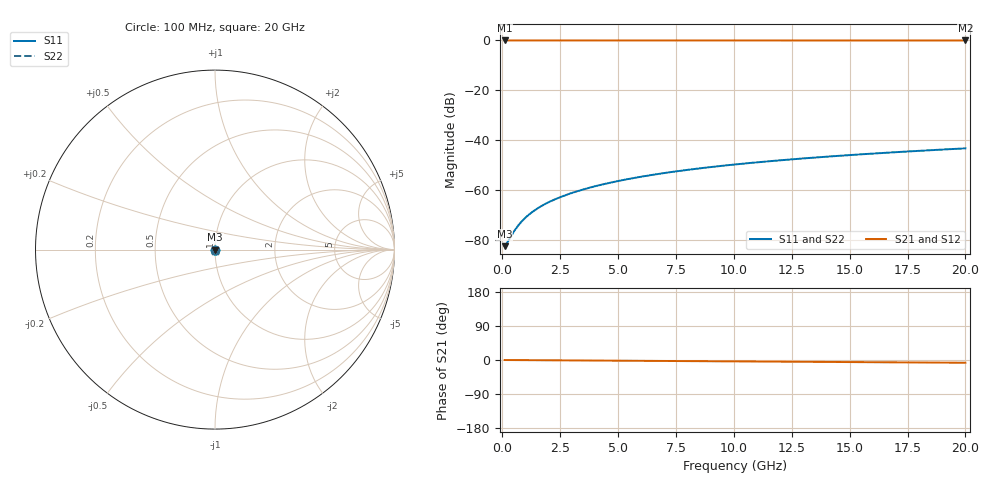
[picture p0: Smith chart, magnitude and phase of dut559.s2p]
! Touchstone file exported from HFSS 2026.1.0
!  File:  C:/ffzhzh/LocalFiles/Ansys_Project_Files/temp_train_TSV_559_1783024464_51716.aedt
!  Generated:  04:35:48 AM Jul  3, 2026
!  Design:  TSV
!  Project:  temp_train_TSV_559_1783024464_51716
! Variables:
!  h_bsmrdl = 2um
!  h_ox = 20um
!  h_rdl = 5um
!  h_sub = 70.64um
!  h_tmrdl = 5um
!  h_tsv = 70.64um
!  h_via = 3um
!  l_bsmrdl = 300um
!  l_sub = 426.92um
!  l_tmrdl = 200um
!  m_sub = 200um
!  pitch = 50.73um
!  r_tsv = 13.46um
!  s_tmrdl = 10um
!  w_bsmrdl = 18um
!  w_sub = 500um
!  w_tmrdl = 12um
!  x_tsv_center1 = 206um
!  x_tsv_center2 = 524um
!  x_tsv_center3 = 736um
!  x_tsv_center4 = 1054um
!  x_tsv_center5 = 1266um
!  x_tsv_center6 = 1584um
# GHz S MA R 50.000000
! Terminal data exported
! Port[1] = TSV1_1_T1
! Port[2] = TSV1_1_T2
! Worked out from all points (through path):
!   200 points, 100 MHz to 20 GHz, reference 50 ohm
!   highest |S21| = 0.00 dB at 100 MHz (marker M1); lowest = 0.0 dB at 20 GHz (marker M2)
!   group delay of S21, straight-line fit = 1.01 ps
!   lowest |S11| = -82.4 dB at 100 MHz (marker M3), VSWR 1.00, Z = 50 + j0.000283 ohm
!   |S11| at or under -10 dB: start of sweep to end of sweep
!   |S22| runs from -82.4 to -43.2 dB; largest |S21 - S12| = 2.1e-15
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0.1  7.591e-05 2.1  0.9999 -0.0  0.9999 -0.0  7.591e-05 2.1
! Gamma 0 0 0 0
! Port Impedance 50 0 50 0
0.2  8.753e-05 1.7  0.9999 -0.1  0.9999 -0.1  8.753e-05 1.7
0.3  0.0001046 -1.5  0.9999 -0.1  0.9999 -0.1  0.0001046 -1.5
0.5  0.0001486 -12.1  0.9999 -0.2  0.9999 -0.2  0.0001486 -12.1
0.6  0.0001736 -17.7  0.9998 -0.2  0.9998 -0.2  0.0001736 -17.7
0.8  0.0002269 -27.8  0.9998 -0.3  0.9998 -0.3  0.0002269 -27.8
1.1  0.000311 -39.4  0.9998 -0.4  0.9998 -0.4  0.000311 -39.4
1.3  0.0003686 -45.2  0.9997 -0.5  0.9997 -0.5  0.0003686 -45.2
1.5  0.0004269 -49.8  0.9997 -0.6  0.9997 -0.6  0.0004269 -49.8
1.9  0.0005452 -56.5  0.9997 -0.7  0.9997 -0.7  0.0005452 -56.5
2.4  0.000696 -62.0  0.9997 -0.9  0.9997 -0.9  0.0006961 -62.0
2.9  0.0008501 -65.8  0.9996 -1.1  0.9996 -1.1  0.0008501 -65.8
3.5  0.001039 -68.9  0.9996 -1.3  0.9996 -1.3  0.001039 -68.9
4.2  0.001265 -71.6  0.9996 -1.5  0.9996 -1.5  0.001265 -71.6
5  0.00153 -73.8  0.9995 -1.8  0.9995 -1.8  0.00153 -73.8
5.9  0.001835 -75.8  0.9995 -2.2  0.9995 -2.2  0.001835 -75.8
6.8  0.002144 -77.5  0.9994 -2.5  0.9994 -2.5  0.002144 -77.5
8.3  0.002668 -79.7  0.9994 -3.0  0.9994 -3.0  0.002668 -79.7
10.1  0.003304 -81.9  0.9993 -3.7  0.9993 -3.7  0.003304 -81.9
13.4  0.004485 -84.9  0.9992 -4.9  0.9992 -4.9  0.004485 -84.9
16.7  0.005683 -87.3  0.9991 -6.1  0.9991 -6.1  0.005684 -87.3
20  0.006903 -89.3  0.999 -7.3  0.999 -7.3  0.006904 -89.3
